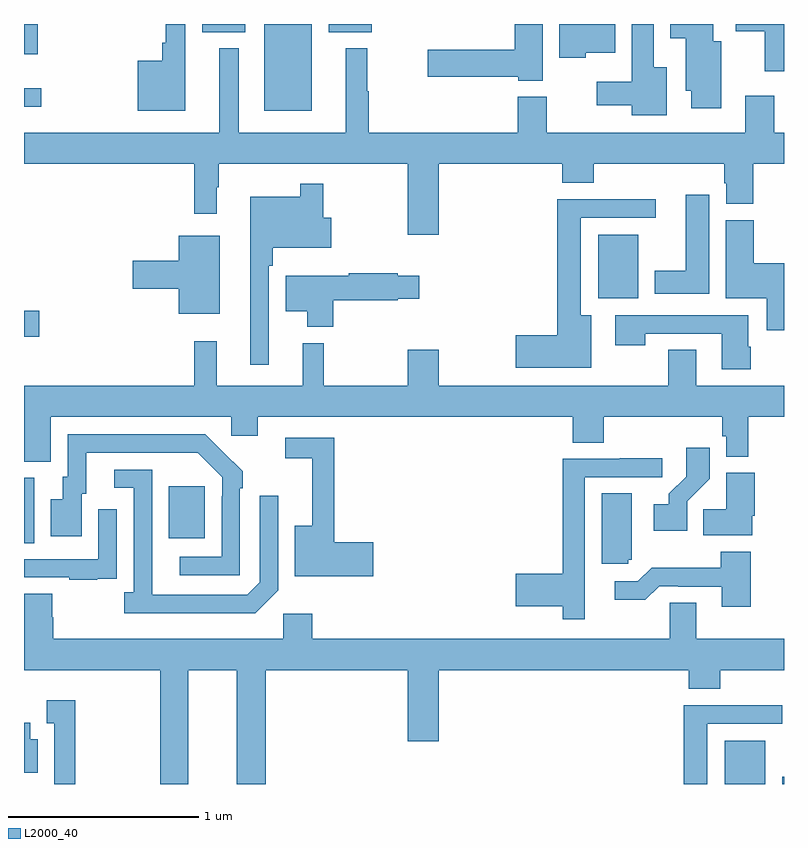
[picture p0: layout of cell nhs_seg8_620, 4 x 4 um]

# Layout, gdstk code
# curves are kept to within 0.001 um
import gdstk
lib = gdstk.Library(unit=1e-6, precision=1e-09)
def R(c, l, rs):  # rectangles x0, y0, x1, y1
    for r in rs: c.add(gdstk.rectangle(r[:2], r[2:], *l))
def P(c, l, *ps):  # polygons
    for p in ps: c.add(gdstk.Polygon(p, *l))
L2000_40 = (2000, 40)

nhs_seg8_620 = lib.new_cell('nhs_seg8_620')
R(nhs_seg8_620, L2000_40, [(154.688,1115.9,154.9,1116.127), (154.991,1115.9,155,1115.938), (151,1117.168,151.054,1117.512), (151.763,1117.193,151.951,1117.468), (151,1118.255,151.081,1118.39), (154.022,1118.456,154.234,1118.791), (152.264,1119.443,152.515,1119.9), (151,1119.464,151.09,1119.561), (151,1119.74,151.072,1119.9), (151.937,1119.857,152.164,1119.9), (152.603,1119.857,152.83,1119.9)])
P(nhs_seg8_620, L2000_40, [(153.73,1119.9),(153.584,1119.9),(153.584,1119.764),(153.126,1119.764),(153.126,1119.622),(153.6,1119.622),(153.6,1119.602),(153.73,1119.602)],
  [(153.957,1119.749),(154.111,1119.749),(154.111,1119.9),(153.818,1119.9),(153.818,1119.722),(153.957,1119.722)],
  [(155,1119.9),(154.746,1119.9),(154.746,1119.862),(154.898,1119.862),(154.898,1119.651),(155,1119.651)],
  [(154.384,1119.673),(154.315,1119.673),(154.315,1119.9),(154.199,1119.9),(154.199,1119.595),(154.014,1119.595),(154.014,1119.473),(154.199,1119.473),(154.199,1119.419),(154.384,1119.419)],
  [(154.669,1119.808),(154.627,1119.808),(154.627,1119.9),(154.4,1119.9),(154.4,1119.824),(154.484,1119.824),(154.484,1119.549),(154.511,1119.549),(154.511,1119.456),(154.669,1119.456)],
  [(151.849,1119.9),(151.745,1119.9),(151.745,1119.802),(151.728,1119.802),(151.728,1119.706),(151.598,1119.706),(151.598,1119.443),(151.849,1119.443)],
  [(152.693,1119.772),(152.693,1119.328),(152.131,1119.328),(152.131,1119.772),(152.027,1119.772),(152.027,1119.328),(151,1119.328),(151,1119.164),(151.897,1119.164),(151.897,1118.901),(152.014,1118.901),(152.014,1119.041),(152.026,1119.041),(152.026,1119.164),(153.02,1119.164),(153.02,1118.79),(153.184,1118.79),(153.184,1119.164),(153.833,1119.164),(153.833,1119.065),(153.998,1119.065),(153.998,1119.164),(154.685,1119.164),(154.685,1119.063),(154.697,1119.063),(154.697,1118.953),(154.838,1118.953),(154.838,1119.164),(155,1119.164),(155,1119.328),(154.949,1119.328),(154.949,1119.523),(154.796,1119.523),(154.796,1119.328),(153.751,1119.328),(153.751,1119.517),(153.599,1119.517),(153.599,1119.328),(152.815,1119.328),(152.815,1119.545),(152.807,1119.545),(152.807,1119.772)],
  [(152.289,1118.627),(152.309,1118.627),(152.309,1118.723),(152.617,1118.723),(152.617,1118.881),(152.575,1118.881),(152.575,1119.058),(152.454,1119.058),(152.454,1118.992),(152.192,1118.992),(152.192,1118.106),(152.289,1118.106)],
  [(154.606,1119.001),(154.484,1119.001),(154.484,1118.602),(154.319,1118.602),(154.319,1118.48),(154.606,1118.48)],
  [(153.985,1118.368),(153.931,1118.368),(153.931,1118.88),(154.324,1118.88),(154.324,1118.978),(153.806,1118.978),(153.806,1118.261),(153.588,1118.261),(153.588,1118.09),(153.985,1118.09)],
  [(155,1118.641),(154.841,1118.641),(154.841,1118.868),(154.694,1118.868),(154.694,1118.456),(154.91,1118.456),(154.91,1118.289),(155,1118.289)],
  [(152.029,1118.785),(151.814,1118.785),(151.814,1118.654),(151.572,1118.654),(151.572,1118.507),(151.814,1118.507),(151.814,1118.375),(152.029,1118.375)],
  [(152.627,1118.446),(152.966,1118.446),(152.966,1118.453),(153.079,1118.453),(153.079,1118.575),(152.966,1118.575),(152.966,1118.588),(152.71,1118.588),(152.71,1118.575),(152.378,1118.575),(152.378,1118.387),(152.492,1118.387),(152.492,1118.306),(152.627,1118.306)],
  [(154.826,1118.201),(154.813,1118.201),(154.813,1118.367),(154.113,1118.367),(154.113,1118.208),(154.269,1118.208),(154.269,1118.271),(154.673,1118.271),(154.673,1118.082),(154.826,1118.082)],
  [(151.141,1117.832),(152.091,1117.832),(152.091,1117.734),(152.23,1117.734),(152.23,1117.832),(153.887,1117.832),(153.887,1117.696),(154.052,1117.696),(154.052,1117.832),(154.675,1117.832),(154.675,1117.731),(154.695,1117.731),(154.695,1117.622),(154.811,1117.622),(154.811,1117.832),(155,1117.832),(155,1117.996),(154.537,1117.996),(154.537,1118.186),(154.39,1118.186),(154.39,1117.996),(153.184,1117.996),(153.184,1118.185),(153.02,1118.185),(153.02,1117.996),(152.578,1117.996),(152.578,1118.221),(152.468,1118.221),(152.468,1117.996),(152.015,1117.996),(152.015,1118.23),(151.897,1118.23),(151.897,1117.996),(151,1117.996),(151,1117.832),(151.001,1117.832),(151.001,1117.597),(151.141,1117.597)],
  [(152.136,1117.457),(152.151,1117.457),(152.151,1117.545),(151.954,1117.74),(151.23,1117.74),(151.23,1117.518),(151.205,1117.518),(151.205,1117.399),(151.142,1117.399),(151.142,1117.203),(151.303,1117.203),(151.303,1117.428),(151.327,1117.428),(151.327,1117.644),(151.915,1117.644),(152.043,1117.515),(152.043,1117.415),(152.04,1117.415),(152.04,1117.095),(151.821,1117.095),(151.821,1116.999),(152.136,1116.999)],
  [(152.839,1117.172),(152.633,1117.172),(152.633,1117.722),(152.376,1117.722),(152.376,1117.614),(152.516,1117.614),(152.516,1117.258),(152.426,1117.258),(152.426,1116.994),(152.839,1116.994)],
  [(154.491,1117.387),(154.61,1117.506),(154.61,1117.669),(154.485,1117.669),(154.485,1117.517),(154.394,1117.427),(154.394,1117.372),(154.314,1117.372),(154.314,1117.232),(154.491,1117.232)],
  [(153.952,1116.99),(153.951,1116.99),(153.951,1117.515),(154.36,1117.515),(154.36,1117.614),(154.135,1117.614),(154.135,1117.611),(153.835,1117.611),(153.835,1117.007),(153.588,1117.007),(153.588,1116.836),(153.835,1116.836),(153.835,1116.768),(153.952,1116.768)],
  [(152.337,1116.921),(152.337,1117.417),(152.241,1117.417),(152.241,1116.963),(152.175,1116.897),(151.675,1116.897),(151.674,1117.554),(151.476,1117.554),(151.476,1117.458),(151.578,1117.458),(151.578,1116.91),(151.527,1116.91),(151.527,1116.8),(152.216,1116.8)],
  [(154.834,1117.312),(154.847,1117.312),(154.847,1117.537),(154.697,1117.537),(154.697,1117.346),(154.576,1117.346),(154.576,1117.208),(154.834,1117.208)],
  [(154.179,1117.08),(154.198,1117.08),(154.198,1117.429),(154.04,1117.429),(154.04,1117.059),(154.179,1117.059)],
  [(151.385,1116.981),(151.487,1116.981),(151.487,1117.09),(151.488,1117.09),(151.488,1117.345),(151.392,1117.345),(151.392,1117.083),(151,1117.083),(151,1116.987),(151.237,1116.987),(151.237,1116.975),(151.385,1116.975)],
  [(154.826,1117.123),(154.666,1117.123),(154.666,1117.039),(154.303,1117.039),(154.23,1116.966),(154.11,1116.966),(154.11,1116.869),(154.271,1116.869),(154.344,1116.942),(154.444,1116.942),(154.444,1116.939),(154.673,1116.939),(154.673,1116.834),(154.826,1116.834)],
  [(154.398,1116.854),(154.398,1116.664),(152.516,1116.664),(152.516,1116.796),(152.364,1116.796),(152.364,1116.664),(151.154,1116.664),(151.154,1116.777),(151.149,1116.777),(151.149,1116.902),(151.001,1116.902),(151.001,1116.77),(151,1116.77),(151,1116.5),(151.717,1116.5),(151.717,1115.9),(151.864,1115.9),(151.864,1116.5),(152.12,1116.5),(152.12,1115.9),(152.273,1115.9),(152.273,1116.5),(153.02,1116.5),(153.02,1116.126),(153.184,1116.126),(153.184,1116.5),(154.499,1116.5),(154.499,1116.401),(154.664,1116.401),(154.664,1116.5),(155,1116.5),(155,1116.664),(154.537,1116.664),(154.537,1116.854)],
  [(151.271,1116.34),(151.121,1116.34),(151.121,1116.219),(151.16,1116.219),(151.16,1115.9),(151.271,1115.9)],
  [(154.597,1116.216),(154.99,1116.216),(154.99,1116.314),(154.472,1116.314),(154.472,1115.9),(154.597,1115.9)],
  [(151.072,1116.136),(151.033,1116.136),(151.033,1116.223),(151,1116.223),(151,1115.96),(151.072,1115.96)])

lib.write_gds('nhs_seg8_620.gds')
